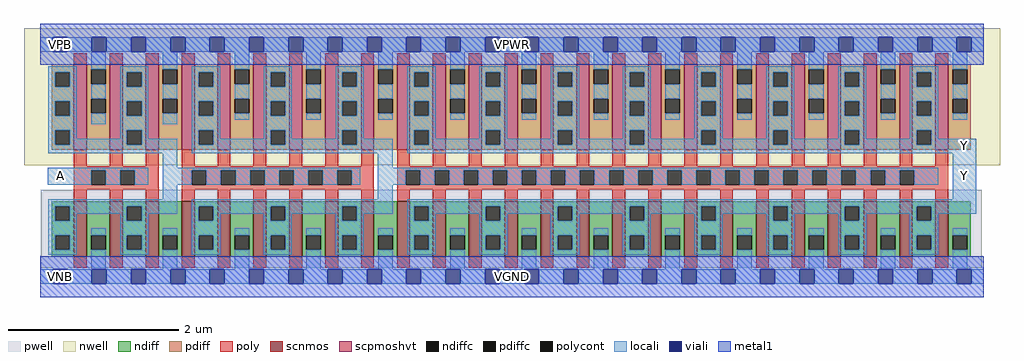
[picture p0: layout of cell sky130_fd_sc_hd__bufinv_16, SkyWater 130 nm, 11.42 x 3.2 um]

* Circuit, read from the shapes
.subckt sky130_fd_sc_hd__bufinv_16 A VGND VNB VPB VPWR Y
XM1 VGND A n1 VNB sky130_fd_pr__nfet_01v8 w=0.65 l=0.15 m=3
XM2 n2 n1 VGND VNB sky130_fd_pr__nfet_01v8 w=0.65 l=0.15 m=6
XM3 Y n2 VGND VNB sky130_fd_pr__nfet_01v8 w=0.65 l=0.15 m=16
XM4 VPWR A n1 VPB sky130_fd_pr__pfet_01v8_hvt w=1 l=0.15 m=3
XM5 n2 n1 VPWR VPB sky130_fd_pr__pfet_01v8_hvt w=1 l=0.15 m=6
XM6 Y n2 VPWR VPB sky130_fd_pr__pfet_01v8_hvt w=1 l=0.15 m=16
.ends

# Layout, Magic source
magic
tech sky130A
magscale 1 2
<< nwell >>
rect -38 261 2246 582
<< pwell >>
rect 1 21 2203 203
rect 30 -17 64 21
<< scnmos >>
rect 79 47 109 177
rect 163 47 193 177
rect 247 47 277 177
rect 331 47 361 177
rect 415 47 445 177
rect 499 47 529 177
rect 583 47 613 177
rect 667 47 697 177
rect 751 47 781 177
rect 835 47 865 177
rect 919 47 949 177
rect 1003 47 1033 177
rect 1087 47 1117 177
rect 1171 47 1201 177
rect 1255 47 1285 177
rect 1339 47 1369 177
rect 1423 47 1453 177
rect 1507 47 1537 177
rect 1591 47 1621 177
rect 1675 47 1705 177
rect 1759 47 1789 177
rect 1843 47 1873 177
rect 1927 47 1957 177
rect 2011 47 2041 177
rect 2095 47 2125 177
<< scpmoshvt >>
rect 79 297 109 497
rect 163 297 193 497
rect 247 297 277 497
rect 331 297 361 497
rect 415 297 445 497
rect 499 297 529 497
rect 583 297 613 497
rect 667 297 697 497
rect 751 297 781 497
rect 835 297 865 497
rect 919 297 949 497
rect 1003 297 1033 497
rect 1087 297 1117 497
rect 1171 297 1201 497
rect 1255 297 1285 497
rect 1339 297 1369 497
rect 1423 297 1453 497
rect 1507 297 1537 497
rect 1591 297 1621 497
rect 1675 297 1705 497
rect 1759 297 1789 497
rect 1843 297 1873 497
rect 1927 297 1957 497
rect 2011 297 2041 497
rect 2095 297 2125 497
<< ndiff >>
rect 27 165 79 177
rect 27 131 35 165
rect 69 131 79 165
rect 27 97 79 131
rect 27 63 35 97
rect 69 63 79 97
rect 27 47 79 63
rect 109 97 163 177
rect 109 63 119 97
rect 153 63 163 97
rect 109 47 163 63
rect 193 165 247 177
rect 193 131 203 165
rect 237 131 247 165
rect 193 97 247 131
rect 193 63 203 97
rect 237 63 247 97
rect 193 47 247 63
rect 277 97 331 177
rect 277 63 287 97
rect 321 63 331 97
rect 277 47 331 63
rect 361 165 415 177
rect 361 131 371 165
rect 405 131 415 165
rect 361 97 415 131
rect 361 63 371 97
rect 405 63 415 97
rect 361 47 415 63
rect 445 97 499 177
rect 445 63 455 97
rect 489 63 499 97
rect 445 47 499 63
rect 529 165 583 177
rect 529 131 539 165
rect 573 131 583 165
rect 529 97 583 131
rect 529 63 539 97
rect 573 63 583 97
rect 529 47 583 63
rect 613 97 667 177
rect 613 63 623 97
rect 657 63 667 97
rect 613 47 667 63
rect 697 165 751 177
rect 697 131 707 165
rect 741 131 751 165
rect 697 97 751 131
rect 697 63 707 97
rect 741 63 751 97
rect 697 47 751 63
rect 781 97 835 177
rect 781 63 791 97
rect 825 63 835 97
rect 781 47 835 63
rect 865 165 919 177
rect 865 131 875 165
rect 909 131 919 165
rect 865 97 919 131
rect 865 63 875 97
rect 909 63 919 97
rect 865 47 919 63
rect 949 97 1003 177
rect 949 63 959 97
rect 993 63 1003 97
rect 949 47 1003 63
rect 1033 165 1087 177
rect 1033 131 1043 165
rect 1077 131 1087 165
rect 1033 97 1087 131
rect 1033 63 1043 97
rect 1077 63 1087 97
rect 1033 47 1087 63
rect 1117 97 1171 177
rect 1117 63 1127 97
rect 1161 63 1171 97
rect 1117 47 1171 63
rect 1201 165 1255 177
rect 1201 131 1211 165
rect 1245 131 1255 165
rect 1201 97 1255 131
rect 1201 63 1211 97
rect 1245 63 1255 97
rect 1201 47 1255 63
rect 1285 97 1339 177
rect 1285 63 1295 97
rect 1329 63 1339 97
rect 1285 47 1339 63
rect 1369 165 1423 177
rect 1369 131 1379 165
rect 1413 131 1423 165
rect 1369 97 1423 131
rect 1369 63 1379 97
rect 1413 63 1423 97
rect 1369 47 1423 63
rect 1453 97 1507 177
rect 1453 63 1463 97
rect 1497 63 1507 97
rect 1453 47 1507 63
rect 1537 165 1591 177
rect 1537 131 1547 165
rect 1581 131 1591 165
rect 1537 97 1591 131
rect 1537 63 1547 97
rect 1581 63 1591 97
rect 1537 47 1591 63
rect 1621 97 1675 177
rect 1621 63 1631 97
rect 1665 63 1675 97
rect 1621 47 1675 63
rect 1705 165 1759 177
rect 1705 131 1715 165
rect 1749 131 1759 165
rect 1705 97 1759 131
rect 1705 63 1715 97
rect 1749 63 1759 97
rect 1705 47 1759 63
rect 1789 97 1843 177
rect 1789 63 1799 97
rect 1833 63 1843 97
rect 1789 47 1843 63
rect 1873 165 1927 177
rect 1873 131 1883 165
rect 1917 131 1927 165
rect 1873 97 1927 131
rect 1873 63 1883 97
rect 1917 63 1927 97
rect 1873 47 1927 63
rect 1957 97 2011 177
rect 1957 63 1967 97
rect 2001 63 2011 97
rect 1957 47 2011 63
rect 2041 165 2095 177
rect 2041 131 2051 165
rect 2085 131 2095 165
rect 2041 97 2095 131
rect 2041 63 2051 97
rect 2085 63 2095 97
rect 2041 47 2095 63
rect 2125 97 2177 177
rect 2125 63 2135 97
rect 2169 63 2177 97
rect 2125 47 2177 63
<< pdiff >>
rect 27 479 79 497
rect 27 445 35 479
rect 69 445 79 479
rect 27 411 79 445
rect 27 377 35 411
rect 69 377 79 411
rect 27 343 79 377
rect 27 309 35 343
rect 69 309 79 343
rect 27 297 79 309
rect 109 485 163 497
rect 109 451 119 485
rect 153 451 163 485
rect 109 417 163 451
rect 109 383 119 417
rect 153 383 163 417
rect 109 297 163 383
rect 193 479 247 497
rect 193 445 203 479
rect 237 445 247 479
rect 193 411 247 445
rect 193 377 203 411
rect 237 377 247 411
rect 193 343 247 377
rect 193 309 203 343
rect 237 309 247 343
rect 193 297 247 309
rect 277 485 331 497
rect 277 451 287 485
rect 321 451 331 485
rect 277 417 331 451
rect 277 383 287 417
rect 321 383 331 417
rect 277 297 331 383
rect 361 479 415 497
rect 361 445 371 479
rect 405 445 415 479
rect 361 411 415 445
rect 361 377 371 411
rect 405 377 415 411
rect 361 343 415 377
rect 361 309 371 343
rect 405 309 415 343
rect 361 297 415 309
rect 445 485 499 497
rect 445 451 455 485
rect 489 451 499 485
rect 445 417 499 451
rect 445 383 455 417
rect 489 383 499 417
rect 445 297 499 383
rect 529 479 583 497
rect 529 445 539 479
rect 573 445 583 479
rect 529 411 583 445
rect 529 377 539 411
rect 573 377 583 411
rect 529 343 583 377
rect 529 309 539 343
rect 573 309 583 343
rect 529 297 583 309
rect 613 485 667 497
rect 613 451 623 485
rect 657 451 667 485
rect 613 417 667 451
rect 613 383 623 417
rect 657 383 667 417
rect 613 297 667 383
rect 697 479 751 497
rect 697 445 707 479
rect 741 445 751 479
rect 697 411 751 445
rect 697 377 707 411
rect 741 377 751 411
rect 697 343 751 377
rect 697 309 707 343
rect 741 309 751 343
rect 697 297 751 309
rect 781 485 835 497
rect 781 451 791 485
rect 825 451 835 485
rect 781 417 835 451
rect 781 383 791 417
rect 825 383 835 417
rect 781 297 835 383
rect 865 479 919 497
rect 865 445 875 479
rect 909 445 919 479
rect 865 411 919 445
rect 865 377 875 411
rect 909 377 919 411
rect 865 343 919 377
rect 865 309 875 343
rect 909 309 919 343
rect 865 297 919 309
rect 949 485 1003 497
rect 949 451 959 485
rect 993 451 1003 485
rect 949 417 1003 451
rect 949 383 959 417
rect 993 383 1003 417
rect 949 297 1003 383
rect 1033 479 1087 497
rect 1033 445 1043 479
rect 1077 445 1087 479
rect 1033 411 1087 445
rect 1033 377 1043 411
rect 1077 377 1087 411
rect 1033 343 1087 377
rect 1033 309 1043 343
rect 1077 309 1087 343
rect 1033 297 1087 309
rect 1117 485 1171 497
rect 1117 451 1127 485
rect 1161 451 1171 485
rect 1117 417 1171 451
rect 1117 383 1127 417
rect 1161 383 1171 417
rect 1117 297 1171 383
rect 1201 479 1255 497
rect 1201 445 1211 479
rect 1245 445 1255 479
rect 1201 411 1255 445
rect 1201 377 1211 411
rect 1245 377 1255 411
rect 1201 343 1255 377
rect 1201 309 1211 343
rect 1245 309 1255 343
rect 1201 297 1255 309
rect 1285 485 1339 497
rect 1285 451 1295 485
rect 1329 451 1339 485
rect 1285 417 1339 451
rect 1285 383 1295 417
rect 1329 383 1339 417
rect 1285 297 1339 383
rect 1369 479 1423 497
rect 1369 445 1379 479
rect 1413 445 1423 479
rect 1369 411 1423 445
rect 1369 377 1379 411
rect 1413 377 1423 411
rect 1369 343 1423 377
rect 1369 309 1379 343
rect 1413 309 1423 343
rect 1369 297 1423 309
rect 1453 485 1507 497
rect 1453 451 1463 485
rect 1497 451 1507 485
rect 1453 417 1507 451
rect 1453 383 1463 417
rect 1497 383 1507 417
rect 1453 297 1507 383
rect 1537 479 1591 497
rect 1537 445 1547 479
rect 1581 445 1591 479
rect 1537 411 1591 445
rect 1537 377 1547 411
rect 1581 377 1591 411
rect 1537 343 1591 377
rect 1537 309 1547 343
rect 1581 309 1591 343
rect 1537 297 1591 309
rect 1621 485 1675 497
rect 1621 451 1631 485
rect 1665 451 1675 485
rect 1621 417 1675 451
rect 1621 383 1631 417
rect 1665 383 1675 417
rect 1621 297 1675 383
rect 1705 479 1759 497
rect 1705 445 1715 479
rect 1749 445 1759 479
rect 1705 411 1759 445
rect 1705 377 1715 411
rect 1749 377 1759 411
rect 1705 343 1759 377
rect 1705 309 1715 343
rect 1749 309 1759 343
rect 1705 297 1759 309
rect 1789 485 1843 497
rect 1789 451 1799 485
rect 1833 451 1843 485
rect 1789 417 1843 451
rect 1789 383 1799 417
rect 1833 383 1843 417
rect 1789 297 1843 383
rect 1873 479 1927 497
rect 1873 445 1883 479
rect 1917 445 1927 479
rect 1873 411 1927 445
rect 1873 377 1883 411
rect 1917 377 1927 411
rect 1873 343 1927 377
rect 1873 309 1883 343
rect 1917 309 1927 343
rect 1873 297 1927 309
rect 1957 485 2011 497
rect 1957 451 1967 485
rect 2001 451 2011 485
rect 1957 417 2011 451
rect 1957 383 1967 417
rect 2001 383 2011 417
rect 1957 297 2011 383
rect 2041 479 2095 497
rect 2041 445 2051 479
rect 2085 445 2095 479
rect 2041 411 2095 445
rect 2041 377 2051 411
rect 2085 377 2095 411
rect 2041 343 2095 377
rect 2041 309 2051 343
rect 2085 309 2095 343
rect 2041 297 2095 309
rect 2125 485 2177 497
rect 2125 451 2135 485
rect 2169 451 2177 485
rect 2125 417 2177 451
rect 2125 383 2135 417
rect 2169 383 2177 417
rect 2125 297 2177 383
<< ndiffc >>
rect 35 131 69 165
rect 35 63 69 97
rect 119 63 153 97
rect 203 131 237 165
rect 203 63 237 97
rect 287 63 321 97
rect 371 131 405 165
rect 371 63 405 97
rect 455 63 489 97
rect 539 131 573 165
rect 539 63 573 97
rect 623 63 657 97
rect 707 131 741 165
rect 707 63 741 97
rect 791 63 825 97
rect 875 131 909 165
rect 875 63 909 97
rect 959 63 993 97
rect 1043 131 1077 165
rect 1043 63 1077 97
rect 1127 63 1161 97
rect 1211 131 1245 165
rect 1211 63 1245 97
rect 1295 63 1329 97
rect 1379 131 1413 165
rect 1379 63 1413 97
rect 1463 63 1497 97
rect 1547 131 1581 165
rect 1547 63 1581 97
rect 1631 63 1665 97
rect 1715 131 1749 165
rect 1715 63 1749 97
rect 1799 63 1833 97
rect 1883 131 1917 165
rect 1883 63 1917 97
rect 1967 63 2001 97
rect 2051 131 2085 165
rect 2051 63 2085 97
rect 2135 63 2169 97
<< pdiffc >>
rect 35 445 69 479
rect 35 377 69 411
rect 35 309 69 343
rect 119 451 153 485
rect 119 383 153 417
rect 203 445 237 479
rect 203 377 237 411
rect 203 309 237 343
rect 287 451 321 485
rect 287 383 321 417
rect 371 445 405 479
rect 371 377 405 411
rect 371 309 405 343
rect 455 451 489 485
rect 455 383 489 417
rect 539 445 573 479
rect 539 377 573 411
rect 539 309 573 343
rect 623 451 657 485
rect 623 383 657 417
rect 707 445 741 479
rect 707 377 741 411
rect 707 309 741 343
rect 791 451 825 485
rect 791 383 825 417
rect 875 445 909 479
rect 875 377 909 411
rect 875 309 909 343
rect 959 451 993 485
rect 959 383 993 417
rect 1043 445 1077 479
rect 1043 377 1077 411
rect 1043 309 1077 343
rect 1127 451 1161 485
rect 1127 383 1161 417
rect 1211 445 1245 479
rect 1211 377 1245 411
rect 1211 309 1245 343
rect 1295 451 1329 485
rect 1295 383 1329 417
rect 1379 445 1413 479
rect 1379 377 1413 411
rect 1379 309 1413 343
rect 1463 451 1497 485
rect 1463 383 1497 417
rect 1547 445 1581 479
rect 1547 377 1581 411
rect 1547 309 1581 343
rect 1631 451 1665 485
rect 1631 383 1665 417
rect 1715 445 1749 479
rect 1715 377 1749 411
rect 1715 309 1749 343
rect 1799 451 1833 485
rect 1799 383 1833 417
rect 1883 445 1917 479
rect 1883 377 1917 411
rect 1883 309 1917 343
rect 1967 451 2001 485
rect 1967 383 2001 417
rect 2051 445 2085 479
rect 2051 377 2085 411
rect 2051 309 2085 343
rect 2135 451 2169 485
rect 2135 383 2169 417
<< poly >>
rect 79 497 109 523
rect 163 497 193 523
rect 247 497 277 523
rect 331 497 361 523
rect 415 497 445 523
rect 499 497 529 523
rect 583 497 613 523
rect 667 497 697 523
rect 751 497 781 523
rect 835 497 865 523
rect 919 497 949 523
rect 1003 497 1033 523
rect 1087 497 1117 523
rect 1171 497 1201 523
rect 1255 497 1285 523
rect 1339 497 1369 523
rect 1423 497 1453 523
rect 1507 497 1537 523
rect 1591 497 1621 523
rect 1675 497 1705 523
rect 1759 497 1789 523
rect 1843 497 1873 523
rect 1927 497 1957 523
rect 2011 497 2041 523
rect 2095 497 2125 523
rect 79 259 109 297
rect 163 259 193 297
rect 247 259 277 297
rect 79 249 277 259
rect 79 215 119 249
rect 153 215 187 249
rect 221 215 277 249
rect 79 205 277 215
rect 79 177 109 205
rect 163 177 193 205
rect 247 177 277 205
rect 331 259 361 297
rect 415 259 445 297
rect 499 259 529 297
rect 583 259 613 297
rect 667 259 697 297
rect 751 259 781 297
rect 331 249 781 259
rect 331 215 355 249
rect 389 215 423 249
rect 457 215 491 249
rect 525 215 559 249
rect 593 215 627 249
rect 661 215 695 249
rect 729 215 781 249
rect 331 205 781 215
rect 331 177 361 205
rect 415 177 445 205
rect 499 177 529 205
rect 583 177 613 205
rect 667 177 697 205
rect 751 177 781 205
rect 835 259 865 297
rect 919 259 949 297
rect 1003 259 1033 297
rect 1087 259 1117 297
rect 1171 259 1201 297
rect 1255 259 1285 297
rect 1339 259 1369 297
rect 1423 259 1453 297
rect 1507 259 1537 297
rect 1591 259 1621 297
rect 1675 259 1705 297
rect 1759 259 1789 297
rect 1843 259 1873 297
rect 1927 259 1957 297
rect 2011 259 2041 297
rect 2095 259 2125 297
rect 835 249 2125 259
rect 835 215 855 249
rect 889 215 923 249
rect 957 215 991 249
rect 1025 215 1059 249
rect 1093 215 1127 249
rect 1161 215 1195 249
rect 1229 215 1263 249
rect 1297 215 1331 249
rect 1365 215 1399 249
rect 1433 215 1467 249
rect 1501 215 1535 249
rect 1569 215 1603 249
rect 1637 215 1671 249
rect 1705 215 1739 249
rect 1773 215 1807 249
rect 1841 215 1875 249
rect 1909 215 1943 249
rect 1977 215 2011 249
rect 2045 215 2125 249
rect 835 205 2125 215
rect 835 177 865 205
rect 919 177 949 205
rect 1003 177 1033 205
rect 1087 177 1117 205
rect 1171 177 1201 205
rect 1255 177 1285 205
rect 1339 177 1369 205
rect 1423 177 1453 205
rect 1507 177 1537 205
rect 1591 177 1621 205
rect 1675 177 1705 205
rect 1759 177 1789 205
rect 1843 177 1873 205
rect 1927 177 1957 205
rect 2011 177 2041 205
rect 2095 177 2125 205
rect 79 21 109 47
rect 163 21 193 47
rect 247 21 277 47
rect 331 21 361 47
rect 415 21 445 47
rect 499 21 529 47
rect 583 21 613 47
rect 667 21 697 47
rect 751 21 781 47
rect 835 21 865 47
rect 919 21 949 47
rect 1003 21 1033 47
rect 1087 21 1117 47
rect 1171 21 1201 47
rect 1255 21 1285 47
rect 1339 21 1369 47
rect 1423 21 1453 47
rect 1507 21 1537 47
rect 1591 21 1621 47
rect 1675 21 1705 47
rect 1759 21 1789 47
rect 1843 21 1873 47
rect 1927 21 1957 47
rect 2011 21 2041 47
rect 2095 21 2125 47
<< polycont >>
rect 119 215 153 249
rect 187 215 221 249
rect 355 215 389 249
rect 423 215 457 249
rect 491 215 525 249
rect 559 215 593 249
rect 627 215 661 249
rect 695 215 729 249
rect 855 215 889 249
rect 923 215 957 249
rect 991 215 1025 249
rect 1059 215 1093 249
rect 1127 215 1161 249
rect 1195 215 1229 249
rect 1263 215 1297 249
rect 1331 215 1365 249
rect 1399 215 1433 249
rect 1467 215 1501 249
rect 1535 215 1569 249
rect 1603 215 1637 249
rect 1671 215 1705 249
rect 1739 215 1773 249
rect 1807 215 1841 249
rect 1875 215 1909 249
rect 1943 215 1977 249
rect 2011 215 2045 249
<< locali >>
rect 0 527 29 561
rect 63 527 121 561
rect 155 527 213 561
rect 247 527 305 561
rect 339 527 397 561
rect 431 527 489 561
rect 523 527 581 561
rect 615 527 673 561
rect 707 527 765 561
rect 799 527 857 561
rect 891 527 949 561
rect 983 527 1041 561
rect 1075 527 1133 561
rect 1167 527 1225 561
rect 1259 527 1317 561
rect 1351 527 1409 561
rect 1443 527 1501 561
rect 1535 527 1593 561
rect 1627 527 1685 561
rect 1719 527 1777 561
rect 1811 527 1869 561
rect 1903 527 1961 561
rect 1995 527 2053 561
rect 2087 527 2145 561
rect 2179 527 2208 561
rect 19 479 85 493
rect 19 445 35 479
rect 69 445 85 479
rect 19 411 85 445
rect 19 377 35 411
rect 69 377 85 411
rect 19 343 85 377
rect 119 485 153 527
rect 119 417 153 451
rect 119 357 153 383
rect 187 479 253 493
rect 187 445 203 479
rect 237 445 253 479
rect 187 411 253 445
rect 187 377 203 411
rect 237 377 253 411
rect 19 309 35 343
rect 69 323 85 343
rect 187 343 253 377
rect 287 485 321 527
rect 287 417 321 451
rect 287 357 321 383
rect 355 479 421 493
rect 355 445 371 479
rect 405 445 421 479
rect 355 411 421 445
rect 355 377 371 411
rect 405 377 421 411
rect 187 323 203 343
rect 69 309 203 323
rect 237 323 253 343
rect 355 343 421 377
rect 455 485 489 527
rect 455 417 489 451
rect 455 367 489 383
rect 523 479 589 493
rect 523 445 539 479
rect 573 445 589 479
rect 523 411 589 445
rect 523 377 539 411
rect 573 377 589 411
rect 237 309 321 323
rect 19 289 321 309
rect 355 309 371 343
rect 405 323 421 343
rect 523 343 589 377
rect 623 485 657 527
rect 623 417 657 451
rect 623 367 657 383
rect 691 479 757 493
rect 691 445 707 479
rect 741 445 757 479
rect 691 411 757 445
rect 691 377 707 411
rect 741 377 757 411
rect 523 323 539 343
rect 405 309 539 323
rect 573 323 589 343
rect 691 343 757 377
rect 791 485 825 527
rect 791 417 825 451
rect 791 367 825 383
rect 859 479 925 493
rect 859 445 875 479
rect 909 445 925 479
rect 859 411 925 445
rect 859 377 875 411
rect 909 377 925 411
rect 691 323 707 343
rect 573 309 707 323
rect 741 323 757 343
rect 859 343 925 377
rect 959 485 993 527
rect 959 417 993 451
rect 959 367 993 383
rect 1027 479 1093 493
rect 1027 445 1043 479
rect 1077 445 1093 479
rect 1027 411 1093 445
rect 1027 377 1043 411
rect 1077 377 1093 411
rect 741 309 825 323
rect 355 289 825 309
rect 859 309 875 343
rect 909 323 925 343
rect 1027 343 1093 377
rect 1127 485 1161 527
rect 1127 417 1161 451
rect 1127 367 1161 383
rect 1195 479 1261 493
rect 1195 445 1211 479
rect 1245 445 1261 479
rect 1195 411 1261 445
rect 1195 377 1211 411
rect 1245 377 1261 411
rect 1027 323 1043 343
rect 909 309 1043 323
rect 1077 323 1093 343
rect 1195 343 1261 377
rect 1295 485 1329 527
rect 1295 417 1329 451
rect 1295 367 1329 383
rect 1363 479 1429 493
rect 1363 445 1379 479
rect 1413 445 1429 479
rect 1363 411 1429 445
rect 1363 377 1379 411
rect 1413 377 1429 411
rect 1195 323 1211 343
rect 1077 309 1211 323
rect 1245 323 1261 343
rect 1363 343 1429 377
rect 1463 485 1497 527
rect 1463 417 1497 451
rect 1463 367 1497 383
rect 1531 479 1597 493
rect 1531 445 1547 479
rect 1581 445 1597 479
rect 1531 411 1597 445
rect 1531 377 1547 411
rect 1581 377 1597 411
rect 1363 323 1379 343
rect 1245 309 1379 323
rect 1413 323 1429 343
rect 1531 343 1597 377
rect 1631 485 1665 527
rect 1631 417 1665 451
rect 1631 367 1665 383
rect 1699 479 1765 493
rect 1699 445 1715 479
rect 1749 445 1765 479
rect 1699 411 1765 445
rect 1699 377 1715 411
rect 1749 377 1765 411
rect 1531 323 1547 343
rect 1413 309 1547 323
rect 1581 323 1597 343
rect 1699 343 1765 377
rect 1799 485 1833 527
rect 1799 417 1833 451
rect 1799 367 1833 383
rect 1867 479 1933 493
rect 1867 445 1883 479
rect 1917 445 1933 479
rect 1867 411 1933 445
rect 1867 377 1883 411
rect 1917 377 1933 411
rect 1699 323 1715 343
rect 1581 309 1715 323
rect 1749 323 1765 343
rect 1867 343 1933 377
rect 1967 485 2001 527
rect 1967 417 2001 451
rect 1967 367 2001 383
rect 2035 479 2101 493
rect 2035 445 2051 479
rect 2085 445 2101 479
rect 2035 411 2101 445
rect 2035 377 2051 411
rect 2085 377 2101 411
rect 1867 323 1883 343
rect 1749 309 1883 323
rect 1917 323 1933 343
rect 2035 343 2101 377
rect 2135 485 2169 527
rect 2135 417 2169 451
rect 2135 367 2169 383
rect 2035 323 2051 343
rect 1917 309 2051 323
rect 2085 323 2101 343
rect 2085 309 2191 323
rect 859 289 2191 309
rect 287 255 321 289
rect 790 255 825 289
rect 18 249 253 255
rect 18 215 119 249
rect 153 215 187 249
rect 221 215 253 249
rect 287 249 749 255
rect 287 215 355 249
rect 389 215 423 249
rect 457 215 491 249
rect 525 215 559 249
rect 593 215 627 249
rect 661 215 695 249
rect 729 215 749 249
rect 790 249 2102 255
rect 790 215 855 249
rect 889 215 923 249
rect 957 215 991 249
rect 1025 215 1059 249
rect 1093 215 1127 249
rect 1161 215 1195 249
rect 1229 215 1263 249
rect 1297 215 1331 249
rect 1365 215 1399 249
rect 1433 215 1467 249
rect 1501 215 1535 249
rect 1569 215 1603 249
rect 1637 215 1671 249
rect 1705 215 1739 249
rect 1773 215 1807 249
rect 1841 215 1875 249
rect 1909 215 1943 249
rect 1977 215 2011 249
rect 2045 215 2102 249
rect 287 181 321 215
rect 790 181 825 215
rect 2136 181 2191 289
rect 19 165 321 181
rect 19 131 35 165
rect 69 147 203 165
rect 69 131 85 147
rect 19 97 85 131
rect 187 131 203 147
rect 237 147 321 165
rect 355 165 825 181
rect 237 131 253 147
rect 19 63 35 97
rect 69 63 85 97
rect 19 52 85 63
rect 119 97 153 113
rect 119 17 153 63
rect 187 97 253 131
rect 355 131 371 165
rect 405 147 539 165
rect 405 131 421 147
rect 187 63 203 97
rect 237 63 253 97
rect 187 52 253 63
rect 287 97 321 113
rect 287 17 321 63
rect 355 97 421 131
rect 523 131 539 147
rect 573 147 707 165
rect 573 131 589 147
rect 355 63 371 97
rect 405 63 421 97
rect 355 52 421 63
rect 455 97 489 113
rect 455 17 489 63
rect 523 97 589 131
rect 691 131 707 147
rect 741 147 825 165
rect 859 165 2191 181
rect 741 131 757 147
rect 523 63 539 97
rect 573 63 589 97
rect 523 52 589 63
rect 623 97 657 113
rect 623 17 657 63
rect 691 97 757 131
rect 859 131 875 165
rect 909 147 1043 165
rect 909 131 925 147
rect 691 63 707 97
rect 741 63 757 97
rect 691 52 757 63
rect 791 97 825 113
rect 791 17 825 63
rect 859 97 925 131
rect 1027 131 1043 147
rect 1077 147 1211 165
rect 1077 131 1093 147
rect 859 63 875 97
rect 909 63 925 97
rect 859 52 925 63
rect 959 97 993 113
rect 859 51 909 52
rect 959 17 993 63
rect 1027 97 1093 131
rect 1195 131 1211 147
rect 1245 147 1379 165
rect 1245 131 1261 147
rect 1027 63 1043 97
rect 1077 63 1093 97
rect 1027 52 1093 63
rect 1127 97 1161 113
rect 1043 51 1077 52
rect 1127 17 1161 63
rect 1195 97 1261 131
rect 1363 131 1379 147
rect 1413 147 1547 165
rect 1413 131 1429 147
rect 1195 63 1211 97
rect 1245 63 1261 97
rect 1195 52 1261 63
rect 1295 97 1329 113
rect 1211 51 1245 52
rect 1295 17 1329 63
rect 1363 97 1429 131
rect 1531 131 1547 147
rect 1581 147 1715 165
rect 1581 131 1597 147
rect 1363 63 1379 97
rect 1413 63 1429 97
rect 1363 52 1429 63
rect 1463 97 1497 113
rect 1463 17 1497 63
rect 1531 97 1597 131
rect 1699 131 1715 147
rect 1749 147 1883 165
rect 1749 131 1765 147
rect 1531 63 1547 97
rect 1581 63 1597 97
rect 1531 52 1597 63
rect 1631 97 1665 113
rect 1631 17 1665 63
rect 1699 97 1765 131
rect 1867 131 1883 147
rect 1917 147 2051 165
rect 1917 131 1933 147
rect 1699 63 1715 97
rect 1749 63 1765 97
rect 1699 52 1765 63
rect 1799 97 1833 113
rect 1799 17 1833 63
rect 1867 97 1933 131
rect 2035 131 2051 147
rect 2085 147 2191 165
rect 2085 131 2101 147
rect 1867 63 1883 97
rect 1917 63 1933 97
rect 1867 52 1933 63
rect 1967 97 2001 113
rect 1967 17 2001 63
rect 2035 97 2101 131
rect 2035 63 2051 97
rect 2085 63 2101 97
rect 2035 52 2101 63
rect 2135 97 2169 113
rect 2135 17 2169 63
rect 0 -17 29 17
rect 63 -17 121 17
rect 155 -17 213 17
rect 247 -17 305 17
rect 339 -17 397 17
rect 431 -17 489 17
rect 523 -17 581 17
rect 615 -17 673 17
rect 707 -17 765 17
rect 799 -17 857 17
rect 891 -17 949 17
rect 983 -17 1041 17
rect 1075 -17 1133 17
rect 1167 -17 1225 17
rect 1259 -17 1317 17
rect 1351 -17 1409 17
rect 1443 -17 1501 17
rect 1535 -17 1593 17
rect 1627 -17 1685 17
rect 1719 -17 1777 17
rect 1811 -17 1869 17
rect 1903 -17 1961 17
rect 1995 -17 2053 17
rect 2087 -17 2145 17
rect 2179 -17 2208 17
<< viali >>
rect 29 527 63 561
rect 121 527 155 561
rect 213 527 247 561
rect 305 527 339 561
rect 397 527 431 561
rect 489 527 523 561
rect 581 527 615 561
rect 673 527 707 561
rect 765 527 799 561
rect 857 527 891 561
rect 949 527 983 561
rect 1041 527 1075 561
rect 1133 527 1167 561
rect 1225 527 1259 561
rect 1317 527 1351 561
rect 1409 527 1443 561
rect 1501 527 1535 561
rect 1593 527 1627 561
rect 1685 527 1719 561
rect 1777 527 1811 561
rect 1869 527 1903 561
rect 1961 527 1995 561
rect 2053 527 2087 561
rect 2145 527 2179 561
rect 29 -17 63 17
rect 121 -17 155 17
rect 213 -17 247 17
rect 305 -17 339 17
rect 397 -17 431 17
rect 489 -17 523 17
rect 581 -17 615 17
rect 673 -17 707 17
rect 765 -17 799 17
rect 857 -17 891 17
rect 949 -17 983 17
rect 1041 -17 1075 17
rect 1133 -17 1167 17
rect 1225 -17 1259 17
rect 1317 -17 1351 17
rect 1409 -17 1443 17
rect 1501 -17 1535 17
rect 1593 -17 1627 17
rect 1685 -17 1719 17
rect 1777 -17 1811 17
rect 1869 -17 1903 17
rect 1961 -17 1995 17
rect 2053 -17 2087 17
rect 2145 -17 2179 17
<< metal1 >>
rect 0 561 2208 592
rect 0 527 29 561
rect 63 527 121 561
rect 155 527 213 561
rect 247 527 305 561
rect 339 527 397 561
rect 431 527 489 561
rect 523 527 581 561
rect 615 527 673 561
rect 707 527 765 561
rect 799 527 857 561
rect 891 527 949 561
rect 983 527 1041 561
rect 1075 527 1133 561
rect 1167 527 1225 561
rect 1259 527 1317 561
rect 1351 527 1409 561
rect 1443 527 1501 561
rect 1535 527 1593 561
rect 1627 527 1685 561
rect 1719 527 1777 561
rect 1811 527 1869 561
rect 1903 527 1961 561
rect 1995 527 2053 561
rect 2087 527 2145 561
rect 2179 527 2208 561
rect 0 496 2208 527
rect 0 17 2208 48
rect 0 -17 29 17
rect 63 -17 121 17
rect 155 -17 213 17
rect 247 -17 305 17
rect 339 -17 397 17
rect 431 -17 489 17
rect 523 -17 581 17
rect 615 -17 673 17
rect 707 -17 765 17
rect 799 -17 857 17
rect 891 -17 949 17
rect 983 -17 1041 17
rect 1075 -17 1133 17
rect 1167 -17 1225 17
rect 1259 -17 1317 17
rect 1351 -17 1409 17
rect 1443 -17 1501 17
rect 1535 -17 1593 17
rect 1627 -17 1685 17
rect 1719 -17 1777 17
rect 1811 -17 1869 17
rect 1903 -17 1961 17
rect 1995 -17 2053 17
rect 2087 -17 2145 17
rect 2179 -17 2208 17
rect 0 -48 2208 -17
<< labels >>
flabel locali s 30 221 64 255 0 FreeSans 200 0 0 0 A
port 1 nsew signal input
flabel locali s 2146 221 2180 255 0 FreeSans 200 0 0 0 Y
port 6 nsew signal output
flabel locali s 2146 289 2180 323 0 FreeSans 200 0 0 0 Y
port 6 nsew signal output
flabel pwell s 30 -17 64 17 0 FreeSans 200 0 0 0 VNB
port 3 nsew ground bidirectional
flabel nwell s 30 527 64 561 0 FreeSans 200 0 0 0 VPB
port 4 nsew power bidirectional
flabel metal1 s 30 -17 64 17 0 FreeSans 200 0 0 0 VGND
port 2 nsew ground bidirectional abutment
flabel metal1 s 30 527 64 561 0 FreeSans 200 0 0 0 VPWR
port 5 nsew power bidirectional abutment
rlabel comment s 0 0 0 0 4 bufinv_16
rlabel metal1 s 0 -48 2208 48 1 VGND
port 2 nsew ground bidirectional abutment
rlabel metal1 s 0 496 2208 592 1 VPWR
port 5 nsew power bidirectional abutment
<< properties >>
string FIXED_BBOX 0 0 2208 544
string GDS_END 3214552
string GDS_FILE $PDKPATH/libs.ref/sky130_fd_sc_hd/gds/sky130_fd_sc_hd.gds
string GDS_START 3197726
string LEFclass CORE
string LEFsite unithd
string LEFsymmetry X Y R90
string path 0.000 0.000 55.200 0.000 
<< end >>
